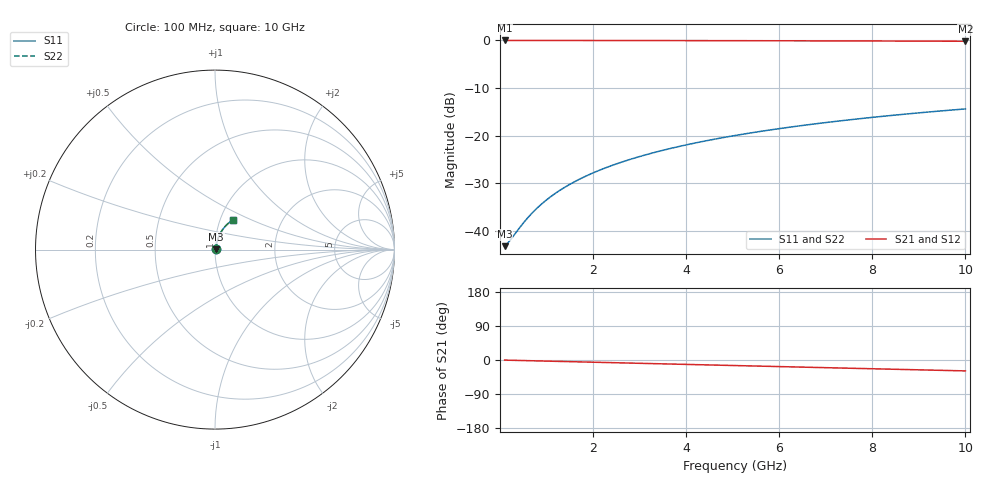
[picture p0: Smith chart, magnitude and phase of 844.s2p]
# Hz S RI R 50.00
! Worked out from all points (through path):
!   100 points, 100 MHz to 10 GHz, reference 50 ohm
!   highest |S21| = -0.06 dB at 100 MHz (marker M1); lowest = -0.2 dB at 10 GHz (marker M2)
!   group delay of S21, straight-line fit = 8 ps
!   lowest |S11| = -43.2 dB at 100 MHz (marker M3), VSWR 1.01, Z = 50.7 + j0.2 ohm
!   |S11| at or under -10 dB: start of sweep to end of sweep
!   |S22| runs from -43.2 to -14.4 dB; largest |S21 - S12| = 0
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1e8  0.00667 0.00198  0.9933 -0.00504  0.9933 -0.00504  0.00667 0.00198
2e8  0.00674 0.00395  0.9932 -0.0101  0.9932 -0.0101  0.00674 0.00395
5e8  0.00703 0.00987  0.9928 -0.0252  0.9928 -0.0252  0.00703 0.00987
6e8  0.00716 0.0118  0.9927 -0.0302  0.9927 -0.0302  0.00716 0.0118
7e8  0.00731 0.0138  0.9924 -0.0353  0.9924 -0.0353  0.00731 0.0138
9e8  0.00766 0.0178  0.9919 -0.0453  0.9919 -0.0453  0.00766 0.0178
1.1e9  0.00808 0.0217  0.9913 -0.0554  0.9913 -0.0554  0.00808 0.0217
1.3e9  0.00859 0.0256  0.9906 -0.0654  0.9906 -0.0654  0.00859 0.0256
1.5e9  0.00917 0.0295  0.9897 -0.0754  0.9897 -0.0754  0.00917 0.0295
1.8e9  0.0102 0.0353  0.9882 -0.0905  0.9882 -0.0905  0.0102 0.0353
2.1e9  0.0114 0.0411  0.9865 -0.1054  0.9865 -0.1054  0.0114 0.0411
2.5e9  0.0132 0.0488  0.9838 -0.1254  0.9838 -0.1254  0.0132 0.0488
2.9e9  0.0154 0.0564  0.9806 -0.1452  0.9806 -0.1452  0.0154 0.0564
3.4e9  0.0185 0.0657  0.9759 -0.1698  0.9759 -0.1698  0.0185 0.0657
3.8e9  0.0214 0.073  0.9717 -0.1894  0.9717 -0.1894  0.0214 0.073
4.2e9  0.0245 0.0802  0.9671 -0.2088  0.9671 -0.2088  0.0245 0.0802
5.1e9  0.0326 0.0959  0.955 -0.252  0.955 -0.252  0.0326 0.0959
5.9e9  0.0409 0.1091  0.9425 -0.2897  0.9425 -0.2897  0.0409 0.1091
6.7e9  0.0502 0.1216  0.9283 -0.3266  0.9283 -0.3266  0.0502 0.1216
7.5e9  0.0604 0.1332  0.9126 -0.3627  0.9126 -0.3627  0.0604 0.1332
8.4e9  0.073 0.1453  0.8931 -0.4021  0.8931 -0.4021  0.073 0.1453
1e10  0.0976 0.1636  0.8541 -0.469  0.8541 -0.469  0.0976 0.1636
